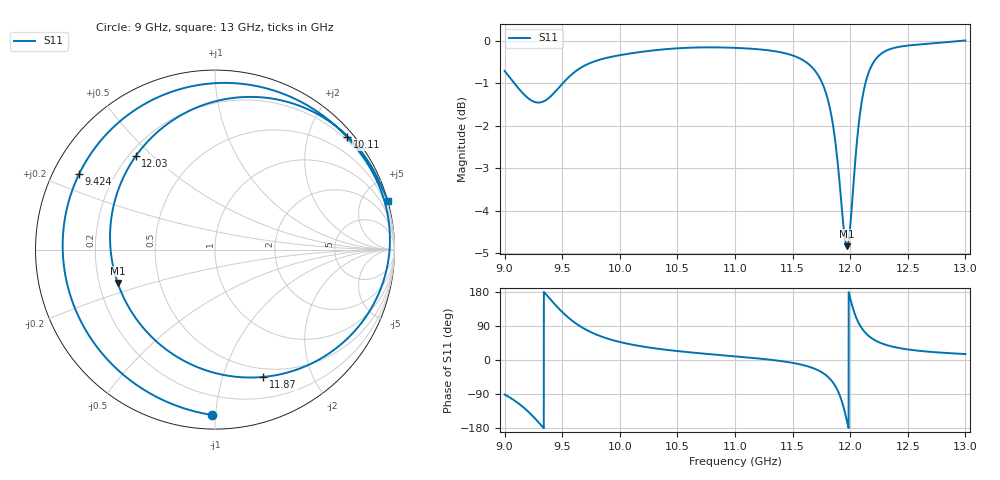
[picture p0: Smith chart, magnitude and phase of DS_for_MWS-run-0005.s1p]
! TOUCHSTONE file generated by CST DESIGN STUDIO
! Date and time: Tue Feb  4 14:26:47 2025
! Project name: C:\Work\MatlabApps\UnitCellOptimizationMatlab\CST\unitcell.cst
! Tree item: Tasks\Sweep1\SPara1\S-Parameters
! Header version: 2024
! Port assignment regex: !\s*Touchstone port\s*([0-9]+)\s*=\s*(CST MWS port|CST DES external port|CST DES block port)\s*(.+)\s* \(\"(.*)\"\)(\s*mode\s*([0-9]+))?.*
! Touchstone port assignment:
! Touchstone port 1 = CST DES external port 1 ("")
# GHz S MA R 50
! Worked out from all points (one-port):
!   4001 points, 9 GHz to 13 GHz, reference 50 ohm
!   lowest |S11| = -4.8 dB at 11.97 GHz (marker M1), VSWR 3.68, Z = 13.9 - j7.7 ohm
!   |S11| at or under -10 dB: nowhere
!   S11 on the Smith chart (normalised r, x): 9 GHz: 0.08, -0.98; 9.424 GHz: 0.08, +0.26; 10.11 GHz: 0.14, +2.71; 11.87 GHz: 0.41, -1.37; 12.03 GHz: 0.23, +0.44; 13 GHz: -0.01, +7.27
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9  0.9212 -91.1
9.108  0.8829 -111.7
9.201  0.8563 -135.1
9.321  0.8466 -173.4
9.424  0.8664 150.9
9.5  0.8894 126.7
9.579  0.9117 105.5
9.669  0.9305 86.5
9.819  0.9491 64.4
10  0.9614 47.5
10.108  0.9667 40.5
10.5  0.9795 23.6
11  0.9807 9.6
11.5  0.9608 -7.6
11.743  0.8998 -30.6
11.814  0.8439 -46.5
11.872  0.7585 -69.3
11.925  0.6404 -106.8
11.972  0.573 -161.1
12  0.6041 162.8
12.03  0.6822 130.4
12.06  0.7646 106.3
12.094  0.8372 86.9
12.145  0.9043 67.8
12.202  0.9429 54.5
12.319  0.9741 39.2
12.5  0.9868 27.9
13  1.001 15.7
